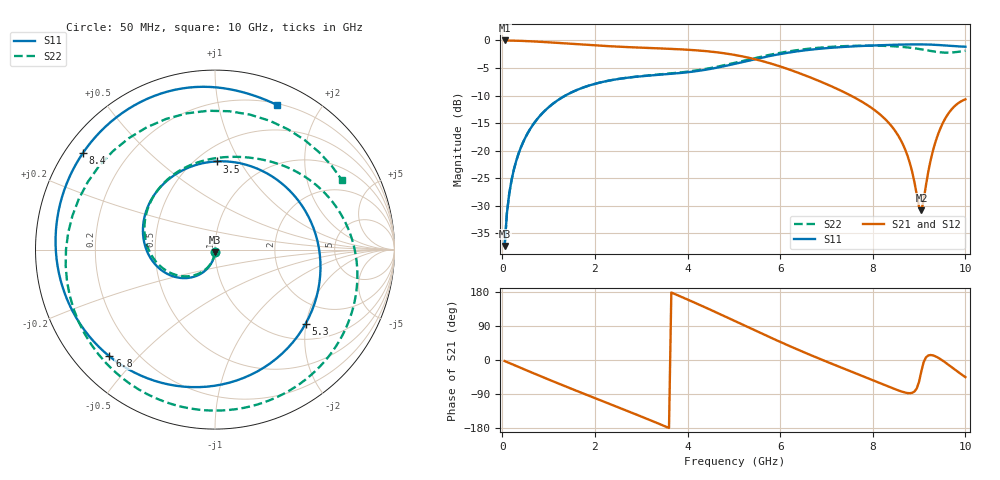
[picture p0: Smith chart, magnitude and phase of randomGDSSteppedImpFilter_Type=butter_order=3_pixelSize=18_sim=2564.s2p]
! freq	dB(S11)	phase(S11)	dB(S12)	phase(S12)
!  dB(S21)	phase(S21)	dB(S22)	phase(S22)
!S-par simulation data
#  GHz  S  DB  R 50
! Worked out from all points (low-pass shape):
!   200 points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, 50 MHz to 10 GHz, reference 50 ohm
!   highest |S21| = 0.00 dB at 50 MHz (marker M1); lowest = -30.8 dB at 9.05 GHz (marker M2)
!   |S21| within 3 dB of the highest: start of sweep to 5.246 GHz
!   lowest |S11| = -37.3 dB at 50 MHz (marker M3), VSWR 1.03, Z = 49.9 - j1.36 ohm
!   |S11| at or under -10 dB: start of sweep to 1.364 GHz
!   |S22| runs from -37.4 to -0.9 dB; largest |S21 - S12| = 0
!   S11 on the Smith chart (normalised r, x): 50 MHz: 1.00, -0.03; 3.5 GHz: 0.62, +0.80; 5.3 GHz: 1.38, -1.98; 6.8 GHz: 0.10, -0.41; 8.4 GHz: 0.05, +0.33; 10 GHz: 0.22, +1.50
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0.05  -37.34 -92.5  -0.00 -2.7  -0.00 -2.7  -37.36 -92.6
0.2  -25.36 -100.4  -0.03 -10.5  -0.03 -10.5  -25.36 -101.2
0.5  -17.60 -115.6  -0.11 -26.0  -0.11 -26.0  -17.60 -117.6
1.15  -11.14 -147.6  -0.42 -59.0  -0.42 -59.0  -11.14 -151.7
1.75  -8.54 -176.8  -0.76 -88.5  -0.76 -88.5  -8.54 178.4
2.5  -7.01 145.8  -1.13 -124.7  -1.13 -124.7  -7.00 143.4
3.4  -6.23 95.2  -1.45 -169.1  -1.45 -169.1  -6.17 105.2
3.5  -6.17 89.0  -1.48 -174.2  -1.48 -174.2  -6.10 101.3
4.2  -5.57 41.6  -1.80 148.8  -1.80 148.8  -5.44 74.9
5.05  -4.19 -21.2  -2.68 101.2  -2.68 101.2  -4.00 42.9
5.3  -3.71 -39.4  -3.10 87.0  -3.10 87.0  -3.50 32.7
6  -2.47 -87.1  -4.72 47.8  -4.72 47.8  -2.25 2.2
6.7  -1.64 -129.1  -6.88 10.9  -6.88 10.9  -1.43 -29.5
6.8  -1.55 -134.7  -7.22 5.8  -7.22 5.8  -1.35 -34.1
7.55  -1.09 -174.1  -10.12 -31.2  -10.12 -31.2  -0.99 -69.6
8.35  -0.82 146.4  -15.02 -70.6  -15.02 -70.6  -1.02 -115.2
8.4  -0.80 143.9  -15.51 -73.0  -15.51 -73.0  -1.04 -118.6
8.75  -0.73 126.7  -20.93 -87.2  -20.93 -87.2  -1.26 -147.2
9.05  -0.72 111.7  -30.84 -29.1  -30.84 -29.1  -1.62 180.0
9.3  -0.78 99.2  -20.00 12.2  -20.00 12.2  -1.98 144.2
9.55  -0.91 87.0  -14.40 -5.0  -14.40 -5.0  -2.21 101.7
10  -1.14 66.7  -10.69 -45.2  -10.69 -45.2  -1.87 28.7
